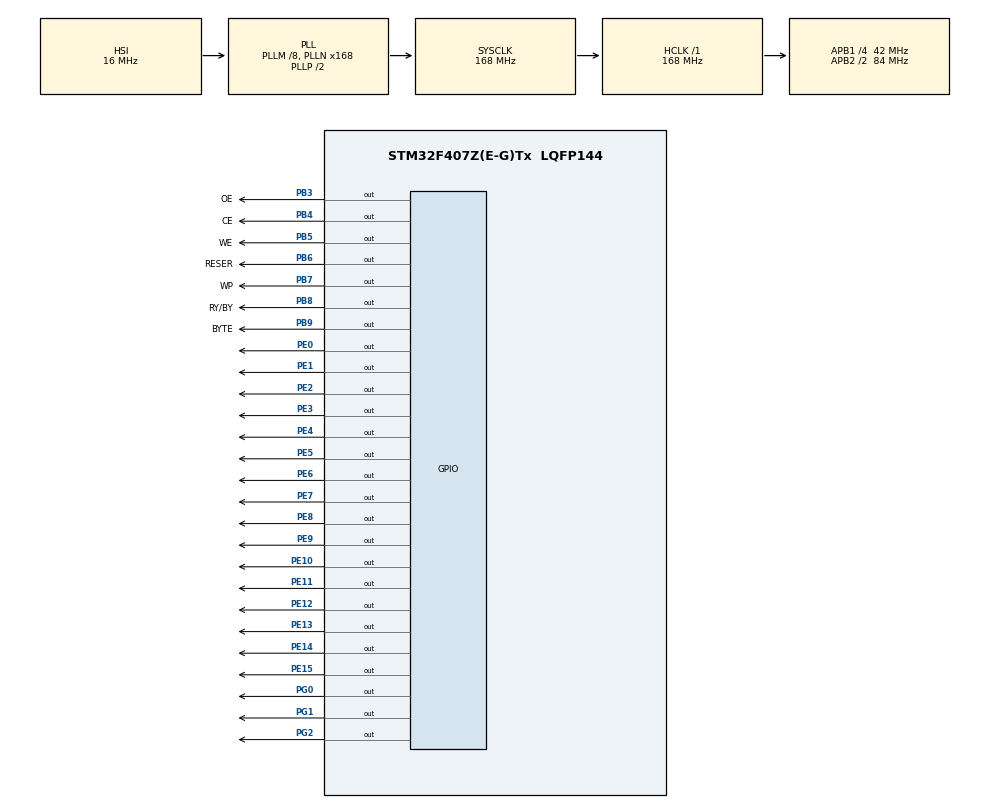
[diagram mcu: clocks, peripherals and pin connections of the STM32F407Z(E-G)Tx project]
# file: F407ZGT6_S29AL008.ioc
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Mcu.Family=STM32F4
Mcu.Name=STM32F407Z(E-G)Tx
Mcu.Package=LQFP144
NVIC.PriorityGroup=NVIC_PRIORITYGROUP_4
PA13.Mode=Serial_Wire
PA13.Signal=SYS_JTMS-SWDIO
PA14.Mode=Serial_Wire
PA14.Signal=SYS_JTCK-SWCLK
PB3.GPIO_Label=OE
PB3.Signal=GPIO_Output
PB4.GPIO_Label=CE
PB4.Signal=GPIO_Output
PB5.GPIO_Label=WE
PB5.Signal=GPIO_Output
PB6.GPIO_Label=RESER
PB6.Signal=GPIO_Output
PB7.GPIO_Label=WP
PB7.Signal=GPIO_Output
PB8.GPIO_Label=RY/BY
PB8.Signal=GPIO_Output
PB9.GPIO_Label=BYTE
PB9.Signal=GPIO_Output
PC14-OSC32_IN.Mode=LSE-External-Clock-Source
PC14-OSC32_IN.Signal=RCC_OSC32_IN
PC15-OSC32_OUT.Mode=LSE-External-Clock-Source
PC15-OSC32_OUT.Signal=RCC_OSC32_OUT
PE0.Signal=GPIO_Output
PE1.Signal=GPIO_Output
PE10.Signal=GPIO_Output
PE11.Signal=GPIO_Output
PE12.Signal=GPIO_Output
PE13.Signal=GPIO_Output
PE14.Signal=GPIO_Output
PE15.Signal=GPIO_Output
PE2.Signal=GPIO_Output
PE3.Signal=GPIO_Output
PE4.Signal=GPIO_Output
PE5.Signal=GPIO_Output
PE6.Signal=GPIO_Output
PE7.Signal=GPIO_Output
PE8.Signal=GPIO_Output
PE9.Signal=GPIO_Output
PG0.Signal=GPIO_Output
PG1.Signal=GPIO_Output
PG2.Signal=GPIO_Output
PH0-OSC_IN.Mode=HSE-External-Oscillator
PH0-OSC_IN.Signal=RCC_OSC_IN
PH1-OSC_OUT.Mode=HSE-External-Oscillator
PH1-OSC_OUT.Signal=RCC_OSC_OUT
ProjectManager.HeapSize=0x200
ProjectManager.StackSize=0x400
ProjectManager.TargetToolchain=STM32CubeIDE
RCC.48MHZClocksFreq_Value=84000000
RCC.AHBFreq_Value=168000000
RCC.APB1CLKDivider=RCC_HCLK_DIV4
RCC.APB1Freq_Value=42000000
RCC.APB1TimFreq_Value=84000000
RCC.APB2CLKDivider=RCC_HCLK_DIV2
RCC.APB2Freq_Value=84000000
RCC.APB2TimFreq_Value=168000000
RCC.CortexFreq_Value=168000000
RCC.HCLKFreq_Value=168000000
RCC.HSE_VALUE=8000000
RCC.HSI_VALUE=16000000
RCC.LSE_VALUE=32768
RCC.PLLM=8
RCC.PLLN=168
RCC.SYSCLKFreq_VALUE=168000000
RCC.SYSCLKSource=RCC_SYSCLKSOURCE_PLLCLK
RCC.VCOOutputFreq_Value=336000000
board=custom

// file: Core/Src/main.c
/* USER CODE BEGIN Header */
/**
  ******************************************************************************
  * @file           : main.c
  * @brief          : Main program body
  ******************************************************************************
  * @attention
  *
  * Copyright (c) 2022 STMicroelectronics.
  * All rights reserved.
  *
  * This software is licensed under terms that can be found in the LICENSE file
  * in the root directory of this software component.
  * If no LICENSE file comes with this software, it is provided AS-IS.
  *
  ******************************************************************************
  */
/* USER CODE END Header */
#include "main.h"

void SystemClock_Config(void);
static void MX_GPIO_Init(void);

int main(void)
{

  /* MCU Configuration--------------------------------------------------------*/

  /* Reset of all peripherals, Initializes the Flash interface and the Systick. */
  HAL_Init();

  /* Configure the system clock */
  SystemClock_Config();

  /* Initialize all configured peripherals */
  MX_GPIO_Init();
  /* USER CODE BEGIN 2 */
  uint32_t data = 0;
  HAL_GPIO_WritePin(GPIOB, RESER_Pin|RY_BY_Pin|BYTE_Pin, GPIO_PIN_SET);
  /* USER CODE END 2 */

  /* Infinite loop */
  /* USER CODE BEGIN WHILE */
  while (1)
  {
	// write
	DATA_OUT();
	GPIOF->ODR = 0xAA;
	for (uint32_t i = 0; i < 0xFF; i++)
	{
		HAL_GPIO_WritePin(GPIOE, GPIO_PIN_All, GPIO_PIN_RESET);
		HAL_GPIO_WritePin(GPIOE, i, GPIO_PIN_SET);

		HAL_GPIO_WritePin(GPIOB, OE_Pin, GPIO_PIN_SET);
		HAL_GPIO_WritePin(GPIOB, CE_Pin|WE_Pin, GPIO_PIN_RESET);
		HAL_Delay(1);
		HAL_GPIO_WritePin(GPIOB, CE_Pin|WE_Pin, GPIO_PIN_SET);
		HAL_Delay(1);
	}

	// Read
	DATA_IN();
	for (uint32_t i = 0; i < 0xFF; i++)
	{
		HAL_GPIO_WritePin(GPIOE, GPIO_PIN_All, GPIO_PIN_RESET);
		HAL_GPIO_WritePin(GPIOE, i, GPIO_PIN_SET);

		HAL_GPIO_WritePin(GPIOB, WE_Pin, GPIO_PIN_SET);
		HAL_GPIO_WritePin(GPIOB, CE_Pin|OE_Pin, GPIO_PIN_RESET);
		HAL_Delay(1);
		data = GPIOF->IDR;
		HAL_GPIO_WritePin(GPIOB, CE_Pin|OE_Pin, GPIO_PIN_SET);
		HAL_Delay(1);
	}

    /* USER CODE END WHILE */

  }
}

void SystemClock_Config(void)
{
  RCC_OscInitTypeDef RCC_OscInitStruct = {0};
  RCC_ClkInitTypeDef RCC_ClkInitStruct = {0};

  /** Configure the main internal regulator output voltage
  */
  __HAL_RCC_PWR_CLK_ENABLE();
  __HAL_PWR_VOLTAGESCALING_CONFIG(PWR_REGULATOR_VOLTAGE_SCALE1);

  /** Initializes the RCC Oscillators according to the specified parameters
  * in the RCC_OscInitTypeDef structure.
  */
  RCC_OscInitStruct.OscillatorType = RCC_OSCILLATORTYPE_HSI;
  RCC_OscInitStruct.HSIState = RCC_HSI_ON;
  RCC_OscInitStruct.HSICalibrationValue = RCC_HSICALIBRATION_DEFAULT;
  RCC_OscInitStruct.PLL.PLLState = RCC_PLL_ON;
  RCC_OscInitStruct.PLL.PLLSource = RCC_PLLSOURCE_HSI;
  RCC_OscInitStruct.PLL.PLLM = 8;
  RCC_OscInitStruct.PLL.PLLN = 168;
  RCC_OscInitStruct.PLL.PLLP = RCC_PLLP_DIV2;
  RCC_OscInitStruct.PLL.PLLQ = 4;
  if (HAL_RCC_OscConfig(&RCC_OscInitStruct) != HAL_OK)
  {
    Error_Handler();
  }

  /** Initializes the CPU, AHB and APB buses clocks
  */
  RCC_ClkInitStruct.ClockType = RCC_CLOCKTYPE_HCLK|RCC_CLOCKTYPE_SYSCLK
                              |RCC_CLOCKTYPE_PCLK1|RCC_CLOCKTYPE_PCLK2;
  RCC_ClkInitStruct.SYSCLKSource = RCC_SYSCLKSOURCE_PLLCLK;
  RCC_ClkInitStruct.AHBCLKDivider = RCC_SYSCLK_DIV1;
  RCC_ClkInitStruct.APB1CLKDivider = RCC_HCLK_DIV4;
  RCC_ClkInitStruct.APB2CLKDivider = RCC_HCLK_DIV2;

  if (HAL_RCC_ClockConfig(&RCC_ClkInitStruct, FLASH_LATENCY_5) != HAL_OK)
  {
    Error_Handler();
  }
}

static void MX_GPIO_Init(void)
{
  GPIO_InitTypeDef GPIO_InitStruct = {0};

  /* GPIO Ports Clock Enable */
  __HAL_RCC_GPIOE_CLK_ENABLE();
  __HAL_RCC_GPIOC_CLK_ENABLE();
  __HAL_RCC_GPIOH_CLK_ENABLE();
  __HAL_RCC_GPIOG_CLK_ENABLE();
  __HAL_RCC_GPIOA_CLK_ENABLE();
  __HAL_RCC_GPIOB_CLK_ENABLE();

  /*Configure GPIO pin Output Level */
  HAL_GPIO_WritePin(GPIOE, GPIO_PIN_2|GPIO_PIN_3|GPIO_PIN_4|GPIO_PIN_5
                          |GPIO_PIN_6|GPIO_PIN_7|GPIO_PIN_8|GPIO_PIN_9
                          |GPIO_PIN_10|GPIO_PIN_11|GPIO_PIN_12|GPIO_PIN_13
                          |GPIO_PIN_14|GPIO_PIN_15|GPIO_PIN_0|GPIO_PIN_1, GPIO_PIN_RESET);

  /*Configure GPIO pin Output Level */
  HAL_GPIO_WritePin(GPIOG, GPIO_PIN_0|GPIO_PIN_1|GPIO_PIN_2, GPIO_PIN_RESET);

  /*Configure GPIO pin Output Level */
  HAL_GPIO_WritePin(GPIOB, OE_Pin|CE_Pin|WE_Pin|RESER_Pin
                          |WP_Pin|RY_BY_Pin|BYTE_Pin, GPIO_PIN_RESET);

  /*Configure GPIO pins : PE2 PE3 PE4 PE5
                           PE6 PE7 PE8 PE9
                           PE10 PE11 PE12 PE13
                           PE14 PE15 PE0 PE1 */
  GPIO_InitStruct.Pin = GPIO_PIN_2|GPIO_PIN_3|GPIO_PIN_4|GPIO_PIN_5
                          |GPIO_PIN_6|GPIO_PIN_7|GPIO_PIN_8|GPIO_PIN_9
                          |GPIO_PIN_10|GPIO_PIN_11|GPIO_PIN_12|GPIO_PIN_13
                          |GPIO_PIN_14|GPIO_PIN_15|GPIO_PIN_0|GPIO_PIN_1;
  GPIO_InitStruct.Mode = GPIO_MODE_OUTPUT_PP;
  GPIO_InitStruct.Pull = GPIO_NOPULL;
  GPIO_InitStruct.Speed = GPIO_SPEED_FREQ_LOW;
  HAL_GPIO_Init(GPIOE, &GPIO_InitStruct);

  /*Configure GPIO pins : PG0 PG1 PG2 */
  GPIO_InitStruct.Pin = GPIO_PIN_0|GPIO_PIN_1|GPIO_PIN_2;
  GPIO_InitStruct.Mode = GPIO_MODE_OUTPUT_PP;
  GPIO_InitStruct.Pull = GPIO_NOPULL;
  GPIO_InitStruct.Speed = GPIO_SPEED_FREQ_LOW;
  HAL_GPIO_Init(GPIOG, &GPIO_InitStruct);

  /*Configure GPIO pins : OE_Pin CE_Pin WE_Pin RESER_Pin
                           WP_Pin RY_BY_Pin BYTE_Pin */
  GPIO_InitStruct.Pin = OE_Pin|CE_Pin|WE_Pin|RESER_Pin
                          |WP_Pin|RY_BY_Pin|BYTE_Pin;
  GPIO_InitStruct.Mode = GPIO_MODE_OUTPUT_PP;
  GPIO_InitStruct.Pull = GPIO_NOPULL;
  GPIO_InitStruct.Speed = GPIO_SPEED_FREQ_LOW;
  HAL_GPIO_Init(GPIOB, &GPIO_InitStruct);

}

/* USER CODE BEGIN 4 */
//**********************************************************************************************************************************
//Функция инициализации пинов на ВЫХОД, отвечающих за данные
void DATA_OUT(void)
{
	GPIO_InitTypeDef GPIO_InitStruct = {0};
	__HAL_RCC_GPIOF_CLK_ENABLE();
	HAL_GPIO_WritePin(GPIOF, GPIO_PIN_0|GPIO_PIN_1|GPIO_PIN_2|GPIO_PIN_3|GPIO_PIN_4|GPIO_PIN_5|GPIO_PIN_6|GPIO_PIN_7, GPIO_PIN_RESET);
	GPIO_InitStruct.Pin   = GPIO_PIN_0|GPIO_PIN_1|GPIO_PIN_2|GPIO_PIN_3|GPIO_PIN_4|GPIO_PIN_5|GPIO_PIN_6|GPIO_PIN_7;
	GPIO_InitStruct.Mode  = GPIO_MODE_OUTPUT_PP;
	GPIO_InitStruct.Pull  = GPIO_NOPULL;
	GPIO_InitStruct.Speed = GPIO_SPEED_FREQ_LOW;
	HAL_GPIO_Init(GPIOF, &GPIO_InitStruct);
}

//**********************************************************************************************************************************
//Функция инициализации пинов на ВХОД
void DATA_IN(void)
{
	GPIO_InitTypeDef GPIO_InitStruct = {0};
	__HAL_RCC_GPIOF_CLK_ENABLE();
	HAL_GPIO_WritePin(GPIOF, GPIO_PIN_0|GPIO_PIN_1|GPIO_PIN_2|GPIO_PIN_3|GPIO_PIN_4|GPIO_PIN_5|GPIO_PIN_6|GPIO_PIN_7, GPIO_PIN_RESET);
	GPIO_InitStruct.Pin   = GPIO_PIN_0|GPIO_PIN_1|GPIO_PIN_2|GPIO_PIN_3|GPIO_PIN_4|GPIO_PIN_5|GPIO_PIN_6|GPIO_PIN_7;
	GPIO_InitStruct.Mode  = GPIO_MODE_INPUT;
	GPIO_InitStruct.Pull  = GPIO_NOPULL;
	GPIO_InitStruct.Speed = GPIO_SPEED_FREQ_LOW;
	HAL_GPIO_Init(GPIOF, &GPIO_InitStruct);
}
/* USER CODE END 4 */

void Error_Handler(void)
{
  __disable_irq();
  while (1)
  {
  }
}
